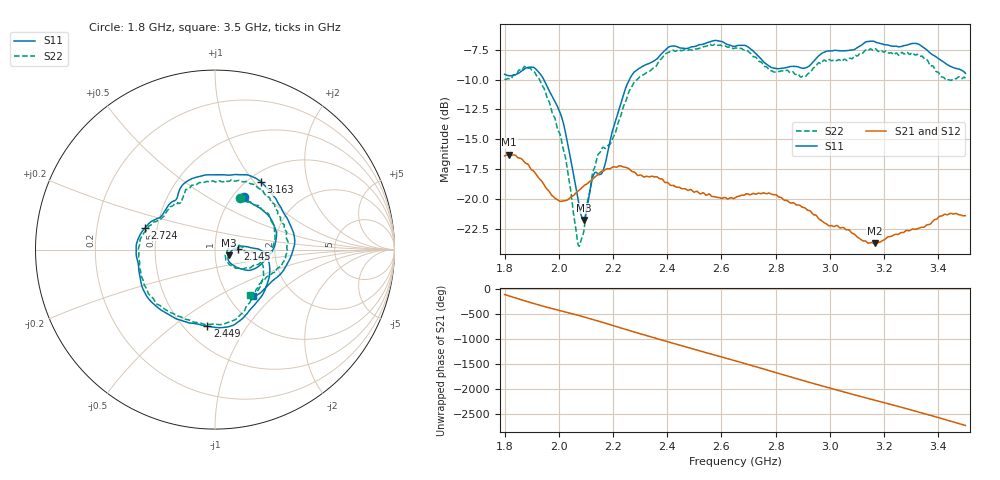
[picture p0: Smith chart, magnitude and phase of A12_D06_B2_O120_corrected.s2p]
! Created with skrf 1.9.0 (http://scikit-rf.org).
# Hz S RI R 50.0
!freq ReS11 ImS11 ReS21 ImS21 ReS12 ImS12 ReS22 ImS22
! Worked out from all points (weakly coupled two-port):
!   1601 points, 1.8 GHz to 3.5 GHz, reference 50 ohm
!   highest |S21| = -16.29 dB at 1.817 GHz (marker M1); lowest = -23.7 dB at 3.165 GHz (marker M2)
!   lowest |S11| = -21.7 dB at 2.091 GHz (marker M3), VSWR 1.18, Z = 58.1 - j3.63 ohm
!   |S11| at or under -10 dB: 1.944 GHz to 2.26 GHz (316 MHz wide, 15 % of centre)
!   |S22| runs from -23.9 to -7.0 dB; largest |S21 - S12| = 0.0025
!   S11 on the Smith chart (normalised r, x): 1.8 GHz: 1.13, +0.74; 2.145 GHz: 1.29, +0.01; 2.449 GHz: 0.64, -0.67; 2.724 GHz: 0.43, +0.13; 3.163 GHz: 1.14, +1.09; 3.5 GHz: 1.29, -0.76
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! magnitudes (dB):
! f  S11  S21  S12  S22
! 1.8 GHz  -9.6  -16.4  -16.4  -9.9
! 1.817 GHz  -9.7  -16.3  -16.3  -9.9
! 1.881 GHz  -9.0  -17.0  -17.0  -9.1
! 1.942 GHz  -9.9  -18.7  -18.7  -10.6
! 2.014 GHz  -13.4  -20.2  -20.2  -15.5
! 2.068 GHz  -19.6  -19.4  -19.4  -23.4
! 2.084 GHz  -21.4  -19.1  -19.0  -23.3
! 2.091 GHz  -21.7  -18.9  -18.9  -22.8
! 2.126 GHz  -18.1  -18.3  -18.3  -17.7
! 2.145 GHz  -17.9  -17.9  -17.9  -16.2
! 2.197 GHz  -14.3  -17.3  -17.3  -15.0
! 2.261 GHz  -10.0  -17.5  -17.5  -10.9
! 2.367 GHz  -8.2  -18.2  -18.2  -8.5
! 2.449 GHz  -7.4  -19.1  -19.1  -7.6
! 2.65 GHz  -7.2  -19.9  -19.9  -7.4
! 2.724 GHz  -7.8  -19.6  -19.5  -8.1
! 2.796 GHz  -9.1  -19.6  -19.6  -9.4
! 2.934 GHz  -8.6  -21.2  -21.1  -9.2
! 3.163 GHz  -6.8  -23.7  -23.6  -7.5
! 3.165 GHz  -6.8  -23.7  -23.7  -7.5
! 3.217 GHz  -7.1  -23.1  -23.1  -7.8
! 3.5 GHz  -9.5  -21.4  -21.4  -9.9
